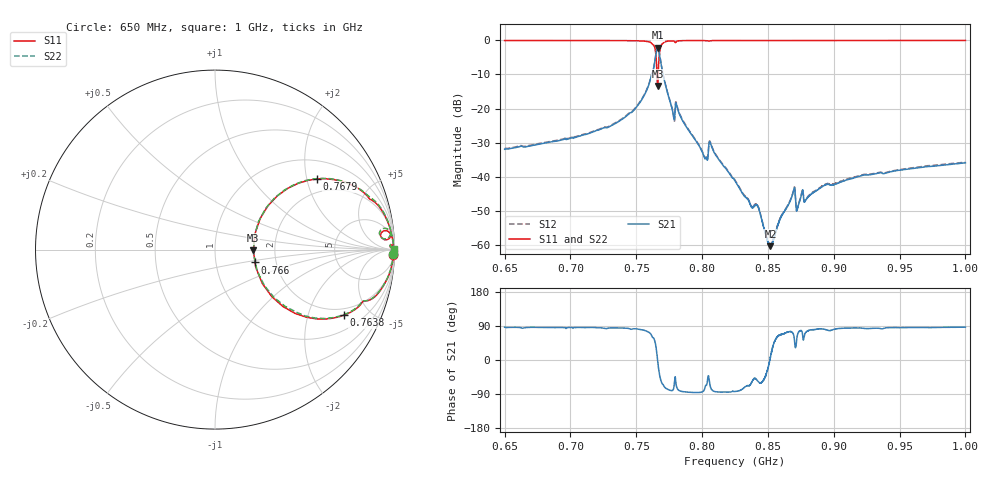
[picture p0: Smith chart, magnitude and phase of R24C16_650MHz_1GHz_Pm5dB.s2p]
!Keysight Technologies,N5221A,MY56011522,A.10.47.06
!Date: Tuesday, September 29, 2020 15:48:56
!Correction: S11(Full 2 Port(1,2))
!S21(Full 2 Port(1,2))
!S12(Full 2 Port(1,2))
!S22(Full 2 Port(1,2))
!S2P File: Measurements: S11, S21, S12, S22:
# Hz S  dB  R 50
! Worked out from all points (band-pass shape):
!   16001 points, 650 MHz to 1 GHz, reference 50 ohm
!   highest |S21| = -2.14 dB at 766.2 MHz (marker M1); lowest = -60.4 dB at 851.9 MHz (marker M2)
!   |S21| within 3 dB of the highest: 764.4847 MHz to 768.0674 MHz (3.583 MHz wide, 0.468 % of centre)
!   lowest |S11| = -13.4 dB at 766.2 MHz (marker M3), VSWR 1.54, Z = 77.2 - j0.626 ohm
!   |S11| at or under -10 dB: 765.7354 MHz to 766.6232 MHz (887.8 kHz wide, 0.116 % of centre)
!   |S22| runs from -13.4 to 0.0 dB; largest |S21 - S12| = 0.025
!   S11 on the Smith chart (normalised r, x): 650 MHz: 13, -69; 763.8 MHz: 1.64, -3.41; 766 MHz: 1.55, -0.23; 767.9 MHz: 1.53, +2.30; 1 GHz: open
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6.5e8  -0.05 -1.6  -31.96 86.4  -31.78 86.1  -0.06 -1.6
7.083406e8  -0.05 -2.4  -27.93 86.1  -27.75 85.9  -0.07 -2.0
7.479125e8  -0.11 -5.5  -20.65 82.4  -20.45 82.0  -0.12 -5.5
7.5955e8  -0.40 -13.0  -13.01 73.2  -12.81 72.8  -0.42 -13.1
7.638375e8  -1.89 -27.1  -6.76 52.9  -6.63 52.4  -1.94 -27.2
7.660031e8  -12.69 -17.9  -2.19 5.4  -2.22 7.0  -12.24 -21.9
7.661562e8  -13.40 -1.0  -2.14 0.4  -2.15 2.1  -13.29 -6.6
7.662e8  -13.38 4.0  -2.14 -0.9  -2.14 0.7  -13.40 -1.6
7.666812e8  -9.45 37.3  -2.43 -15.5  -2.37 -13.8  -10.02 35.8
7.678844e8  -3.21 34.7  -4.70 -42.5  -4.52 -40.9  -3.45 35.8
7.711e8  -0.56 15.6  -11.38 -69.8  -11.19 -69.5  -0.57 16.4
7.777281e8  -0.14 5.0  -20.96 -80.0  -20.75 -79.9  -0.14 5.7
8.025125e8  -0.09 0.8  -34.73 -68.9  -34.56 -69.0  -0.10 1.0
8.067562e8  -0.09 1.4  -30.65 -75.2  -30.47 -75.3  -0.10 1.6
8.25e8  -0.05 0.4  -41.24 -83.4  -41.02 -83.3  -0.04 0.6
8.42325e8  -0.06 0.1  -48.76 -55.9  -48.60 -56.0  -0.04 0.6
8.519062e8  -0.04 -0.2  -60.41 8.0  -60.10 8.1  -0.04 0.5
8.689688e8  -0.05 -0.6  -44.95 70.8  -44.75 70.5  -0.06 -0.1
8.727312e8  -0.04 -0.5  -48.97 70.0  -48.77 69.3  -0.05 -0.1
8.833406e8  -0.04 -0.6  -44.98 79.7  -44.78 79.3  -0.04 -0.3
9.416812e8  -0.04 -0.8  -38.71 85.4  -38.55 85.3  -0.04 -0.3
1e9  -0.02 -1.1  -35.93 86.6  -35.77 86.8  -0.01 0.1
